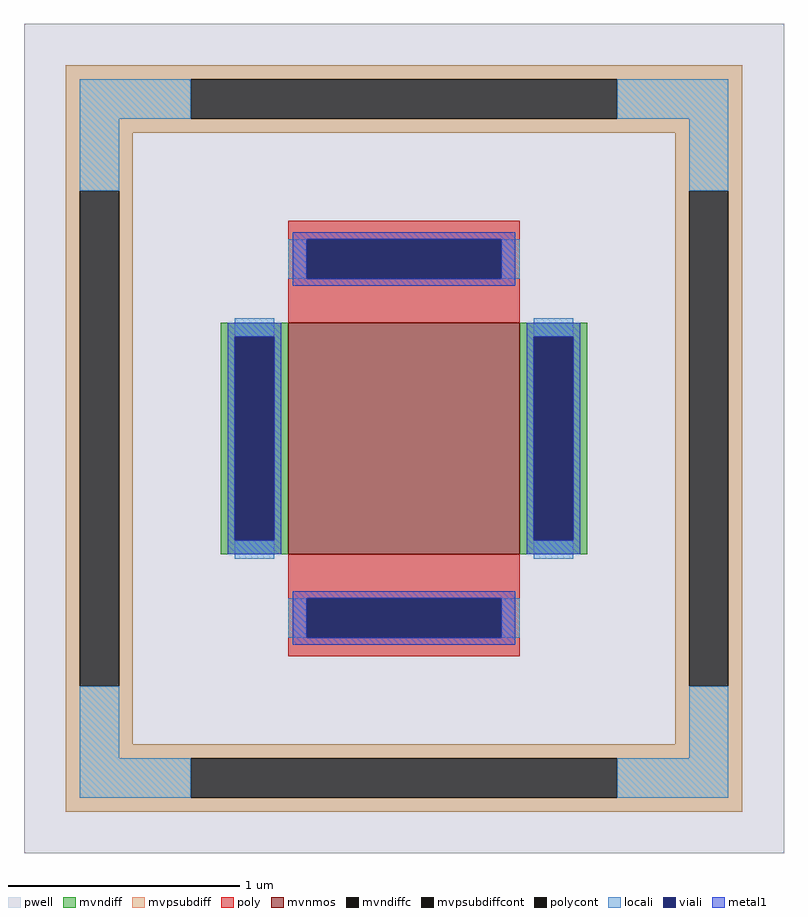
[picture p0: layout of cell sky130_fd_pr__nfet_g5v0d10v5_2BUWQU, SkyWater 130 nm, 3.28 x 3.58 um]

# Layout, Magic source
magic
tech sky130A
<< pwell >>
rect -164 -179 164 179
<< mvnmos >>
rect -50 -50 50 50
<< mvndiff >>
rect -79 44 -50 50
rect -79 -44 -73 44
rect -56 -44 -50 44
rect -79 -50 -50 -44
rect 50 44 79 50
rect 50 -44 56 44
rect 73 -44 79 44
rect 50 -50 79 -44
<< mvndiffc >>
rect -73 -44 -56 44
rect 56 -44 73 44
<< mvpsubdiff >>
rect -146 155 146 161
rect -146 138 -92 155
rect 92 138 146 155
rect -146 132 146 138
rect -146 107 -117 132
rect -146 -107 -140 107
rect -123 -107 -117 107
rect 117 107 146 132
rect -146 -132 -117 -107
rect 117 -107 123 107
rect 140 -107 146 107
rect 117 -132 146 -107
rect -146 -138 146 -132
rect -146 -155 -92 -138
rect 92 -155 146 -138
rect -146 -161 146 -155
<< mvpsubdiffcont >>
rect -92 138 92 155
rect -140 -107 -123 107
rect 123 -107 140 107
rect -92 -155 92 -138
<< poly >>
rect -50 86 50 94
rect -50 69 -42 86
rect 42 69 50 86
rect -50 50 50 69
rect -50 -69 50 -50
rect -50 -86 -42 -69
rect 42 -86 50 -69
rect -50 -94 50 -86
<< polycont >>
rect -42 69 42 86
rect -42 -86 42 -69
<< locali >>
rect -140 138 -92 155
rect 92 138 140 155
rect -140 107 -123 138
rect 123 107 140 138
rect -50 69 -42 86
rect 42 69 50 86
rect -73 44 -56 52
rect -73 -52 -56 -44
rect 56 44 73 52
rect 56 -52 73 -44
rect -50 -86 -42 -69
rect 42 -86 50 -69
rect -140 -138 -123 -107
rect 123 -138 140 -107
rect -140 -155 -92 -138
rect 92 -155 140 -138
<< viali >>
rect -42 69 42 86
rect -73 -44 -56 44
rect 56 -44 73 44
rect -42 -86 42 -69
<< metal1 >>
rect -48 86 48 89
rect -48 69 -42 86
rect 42 69 48 86
rect -48 66 48 69
rect -76 44 -53 50
rect -76 -44 -73 44
rect -56 -44 -53 44
rect -76 -50 -53 -44
rect 53 44 76 50
rect 53 -44 56 44
rect 73 -44 76 44
rect 53 -50 76 -44
rect -48 -69 48 -66
rect -48 -86 -42 -69
rect 42 -86 48 -69
rect -48 -89 48 -86
<< properties >>
string FIXED_BBOX -131 -146 131 146
string gencell sky130_fd_pr__nfet_g5v0d10v5
string library sky130
string parameters w 1.0 l 1.0 m 1 nf 1 diffcov 100 polycov 100 guard 1 glc 1 grc 1 gtc 1 gbc 1 tbcov 100 rlcov 100 topc 1 botc 1 poverlap 0 doverlap 1 lmin 0.50 wmin 0.42 class mosfet compatible {sky130_fd_pr__nfet_01v8 sky130_fd_pr__nfet_01v8_lvt  sky130_fd_bs_flash__special_sonosfet_star  sky130_fd_pr__nfet_g5v0d10v5 sky130_fd_pr__nfet_05v0_nvt  sky130_fd_pr__nfet_03v3_nvt} full_metal 1 viasrc 100 viadrn 100 viagate 100 viagb 0 viagr 0 viagl 0 viagt 0
<< end >>
